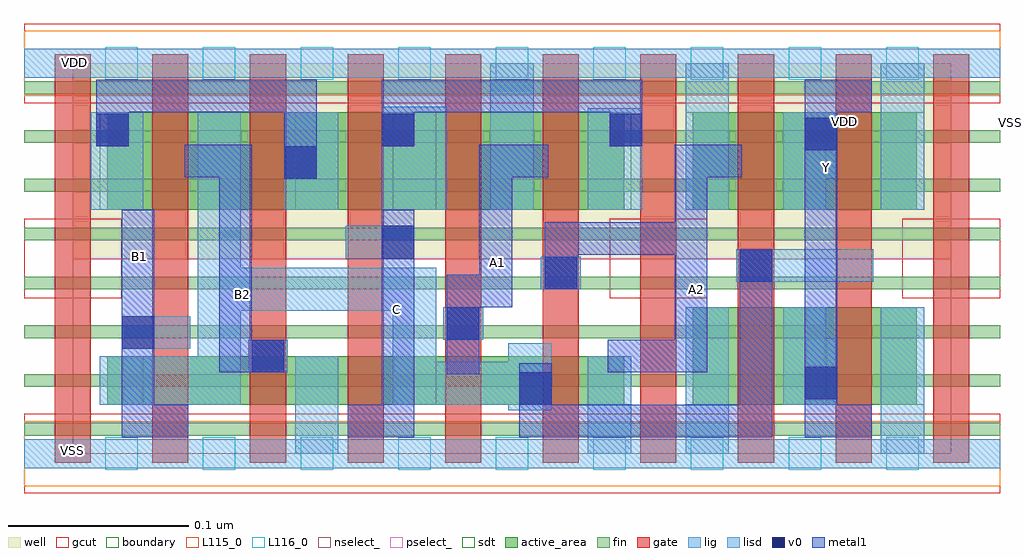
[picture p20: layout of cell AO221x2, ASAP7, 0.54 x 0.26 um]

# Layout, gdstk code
import gdstk
lib = gdstk.Library(unit=1e-6, precision=2.5e-10)
def R(c, l, rs):  # rectangles x0, y0, x1, y1
    for r in rs: c.add(gdstk.rectangle(r[:2], r[2:], *l))
def A(c, l, x, y, w, h, nx, ny, dx, dy):  # array of equal rectangles
    R(c, l, [(x+i*dx, y+j*dy, x+i*dx+w, y+j*dy+h) for i in range(nx) for j in range(ny)])
def P(c, l, *ps):  # polygons
    for p in ps: c.add(gdstk.Polygon(p, *l))
well = (1, 0)
fin = (2, 0)
gate = (7, 0)
gcut = (10, 0)
active_area = (11, 0)
nselect_ = (12, 0)
pselect_ = (13, 0)
lig = (16, 0)
lisd = (17, 0)
v0 = (18, 0)
metal1 = (19, 0)
sdt = (88, 0)
boundary = (100, 0)
L115_0 = (115, 0)
L116_0 = (116, 0)

ao221x2 = lib.new_cell('AO221x2')
R(ao221x2, well, [(0,0.108,0.486,0.216)])
A(ao221x2, fin, -0.027, 0.01, 0.54, 0.007, 1, 8, 0, 0.027)
A(ao221x2, gate, -0.01, -0.005, 0.02, 0.226, 9, 1, 0.054, 0)
R(ao221x2, gate, [(0.422,-0.005,0.442,0.221), (0.422,-0.005,0.442,0.221), (0.476,-0.005,0.496,0.221)])
R(ao221x2, gcut, [(-0.027,-0.022,0.513,0.022), (-0.027,0.086,0.027,0.13), (0.297,0.086,0.351,0.13), (0.459,0.086,0.513,0.13), (-0.027,0.194,0.513,0.238)])
R(ao221x2, active_area, [(0.019,0.027,0.305,0.054), (0.343,0.027,0.467,0.081), (0.019,0.135,0.305,0.189), (0.343,0.135,0.467,0.189)])
R(ao221x2, nselect_, [(0,0,0.486,0.108)])
R(ao221x2, pselect_, [(0,0.108,0.486,0.216)])
R(ao221x2, lig, [(-0.027,-0.008,0.513,0.008), (0.097,0.045,0.119,0.063), (0.027,0.058,0.065,0.076), (0.205,0.063,0.227,0.081), (0.259,0.091,0.281,0.109), (0.367,0.095,0.443,0.113), (0.151,0.108,0.189,0.126), (-0.027,0.208,0.513,0.224)])
A(ao221x2, lisd, 0.231, 0.135, 0.024, 0.081, 3, 1, 0.108, 0)
R(ao221x2, lisd, [(0.123,0,0.147,0.054), (0.285,0,0.309,0.054), (0.339,0,0.363,0.081), (0.447,0,0.471,0.081), (0.241,0.024,0.265,0.061), (0.177,0.027,0.201,0.079), (0.177,0.027,0.265,0.051), (0.393,0.027,0.417,0.081), (0.393,0.027,0.423,0.064), (0.093,0.079,0.201,0.103), (0.01,0.135,0.039,0.189), (0.117,0.135,0.147,0.189), (0.171,0.135,0.207,0.192), (0.285,0.135,0.315,0.191)])
P(ao221x2, lisd, [(0.093,0.189),(0.069,0.189),(0.069,0.054),(0.015,0.054),(0.015,0.027),(0.093,0.027)],
  [(0.423,0.189),(0.393,0.189),(0.393,0.135),(0.417,0.135),(0.417,0.152),(0.423,0.152)])
R(ao221x2, v0, [(0.247,0.027,0.265,0.045), (0.405,0.03,0.423,0.048), (0.099,0.045,0.117,0.063), (0.027,0.058,0.045,0.076), (0.207,0.063,0.225,0.081), (0.261,0.091,0.279,0.109), (0.369,0.095,0.387,0.113), (0.171,0.108,0.189,0.126), (0.117,0.152,0.135,0.17), (0.405,0.168,0.423,0.186), (0.013,0.17,0.031,0.188), (0.171,0.17,0.189,0.188), (0.297,0.17,0.315,0.188)])
R(ao221x2, metal1, [(0.027,0.009,0.045,0.135), (0.027,0.009,0.064,0.027), (0.152,0.009,0.189,0.027), (0.171,0.009,0.189,0.135), (0.247,0.009,0.387,0.027), (0.247,0.009,0.265,0.05), (0.405,0.009,0.442,0.027), (0.405,0.009,0.423,0.207), (0.369,0.027,0.387,0.113), (0.207,0.044,0.225,0.099), (0.081,0.045,0.117,0.063), (0.081,0.045,0.099,0.171), (0.296,0.045,0.333,0.063), (0.333,0.045,0.351,0.171), (0.225,0.081,0.243,0.153), (0.261,0.091,0.279,0.128), (0.261,0.11,0.333,0.128), (0.117,0.152,0.135,0.207), (0.062,0.153,0.099,0.171), (0.225,0.153,0.263,0.171), (0.333,0.153,0.37,0.171), (0.013,0.17,0.031,0.207), (0.171,0.17,0.189,0.207), (0.297,0.17,0.315,0.207), (0.017,0.189,0.135,0.207), (0.189,0.189,0.315,0.207), (0.405,0.189,0.442,0.207)])
A(ao221x2, sdt, 0.339, 0.027, 0.024, 0.054, 3, 1, 0.054, 0)
A(ao221x2, sdt, 0.015, 0.135, 0.024, 0.054, 9, 1, 0.054, 0)
R(ao221x2, sdt, [(0.015,0.027,0.039,0.054), (0.123,0.027,0.147,0.054), (0.177,0.027,0.201,0.054), (0.285,0.027,0.309,0.054)])
R(ao221x2, boundary, [(0,0,0.486,0.216)])
R(ao221x2, L115_0, [(-0.027,-0.018,0.513,0.018), (-0.027,0.198,0.513,0.234)])
A(ao221x2, L116_0, 0.018, -0.009, 0.018, 0.018, 9, 2, 0.054, 0.216)
ao221x2.add(gdstk.Label('VSS', (0.52,0.183), layer=3, texttype=251))
ao221x2.add(gdstk.Label('VDD', (0.427,0.184), layer=1, texttype=251))
ao221x2.add(gdstk.Label('A1', (0.235,0.106), layer=19, texttype=251))
ao221x2.add(gdstk.Label('Y', (0.417,0.1585), layer=19, texttype=251))
ao221x2.add(gdstk.Label('A2', (0.345,0.091), layer=19, texttype=251))
ao221x2.add(gdstk.Label('B1', (0.037,0.109), layer=19, texttype=251))
ao221x2.add(gdstk.Label('B2', (0.094,0.088), layer=19, texttype=251))
ao221x2.add(gdstk.Label('C', (0.179,0.08), layer=19, texttype=251))
ao221x2.add(gdstk.Label('VSS', (0,0.0015), layer=115, texttype=251))
ao221x2.add(gdstk.Label('VDD', (0.001,0.2165), layer=115, texttype=251))

lib.write_gds('AO221x2.gds')
